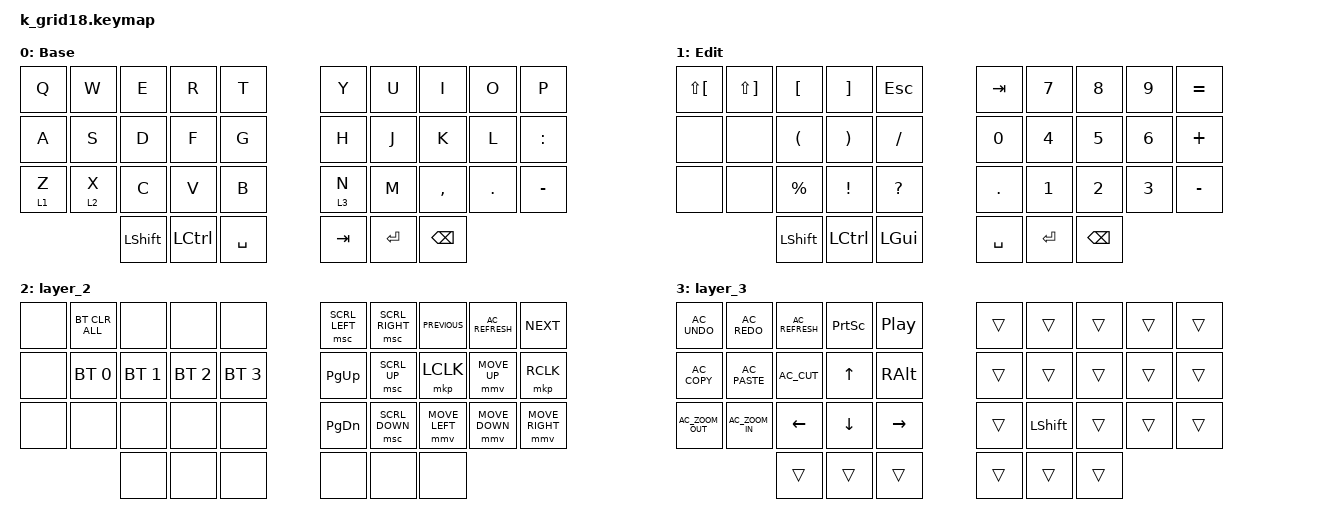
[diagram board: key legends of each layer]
#include <behaviors.dtsi>
#include <dt-bindings/zmk/bt.h>
#include <dt-bindings/zmk/keys.h>
#include <dt-bindings/zmk/pointing.h>

/ {
    combos {
        compatible = "zmk,combos";

        BS {
            bindings = <&kp BACKSPACE>;
            key-positions = <34 33>;
        };

        kanaE {
            bindings = <&kp LC(SPACE)>;
            key-positions = <32 31>;
        };
    };

    keymap {
        compatible = "zmk,keymap";

        default_layer {
            display-name = "Base";
            bindings = <
&kp Q    &kp W    &kp E           &kp R      &kp T      &kp Y    &kp U      &kp I          &kp O    &kp P
&kp A    &kp S    &kp D           &kp F      &kp G      &kp H    &kp J      &kp K          &kp L    &kp COLON
&lt 1 Z  &lt 2 X  &kp C           &kp V      &kp B      &lt 3 N  &kp M      &kp COMMA      &kp DOT  &kp MINUS
                  &kp LEFT_SHIFT  &kp LCTRL  &kp SPACE  &kp TAB  &kp ENTER  &kp BACKSPACE
            >;
        };

        layer_1 {
            display-name = "Edit";
            bindings = <
&kp LS(LEFT_BRACKET)  &kp LS(RIGHT_BRACKET)  &kp LBKT        &kp RBKT         &kp ESC       &kp TAB    &kp N7     &kp N8         &kp N9  &kp EQUAL
&none                 &none                  &kp LPAR        &kp RPAR         &kp SLASH     &kp N0     &kp N4     &kp N5         &kp N6  &kp PLUS
&none                 &none                  &kp PERCENT     &kp EXCLAMATION  &kp QUESTION  &kp DOT    &kp N1     &kp N2         &kp N3  &kp MINUS
                                             &kp LEFT_SHIFT  &kp LCTRL        &kp LGUI      &kp SPACE  &kp ENTER  &kp BACKSPACE
            >;
        };

        layer_2 {
            bindings = <
&none  &bt BT_CLR_ALL  &none         &none         &none         &msc SCRL_LEFT  &msc SCRL_RIGHT  &kp C_PREVIOUS  &kp C_AC_REFRESH  &kp C_NEXT
&none  &bt BT_SEL 0    &bt BT_SEL 1  &bt BT_SEL 2  &bt BT_SEL 3  &kp PAGE_UP     &msc SCRL_UP     &mkp LCLK       &mmv MOVE_UP      &mkp RCLK
&none  &none           &none         &none         &none         &kp PAGE_DOWN   &msc SCRL_DOWN   &mmv MOVE_LEFT  &mmv MOVE_DOWN    &mmv MOVE_RIGHT
                       &none         &none         &none         &none           &none            &none
            >;
        };

        layer_3 {
            bindings = <
&kp C_AC_UNDO      &kp C_AC_REDO     &kp C_AC_REFRESH  &kp PRINTSCREEN  &kp C_PLAY_PAUSE  &trans  &trans      &trans  &trans  &trans
&kp C_AC_COPY      &kp C_AC_PASTE    &kp C_AC_CUT      &kp UP_ARROW     &kp RIGHT_ALT     &trans  &trans      &trans  &trans  &trans
&kp C_AC_ZOOM_OUT  &kp C_AC_ZOOM_IN  &kp LEFT          &kp DOWN         &kp RIGHT         &trans  &kp LSHIFT  &trans  &trans  &trans
                                     &trans            &trans           &trans            &trans  &trans      &trans
            >;
        };
    };
};
